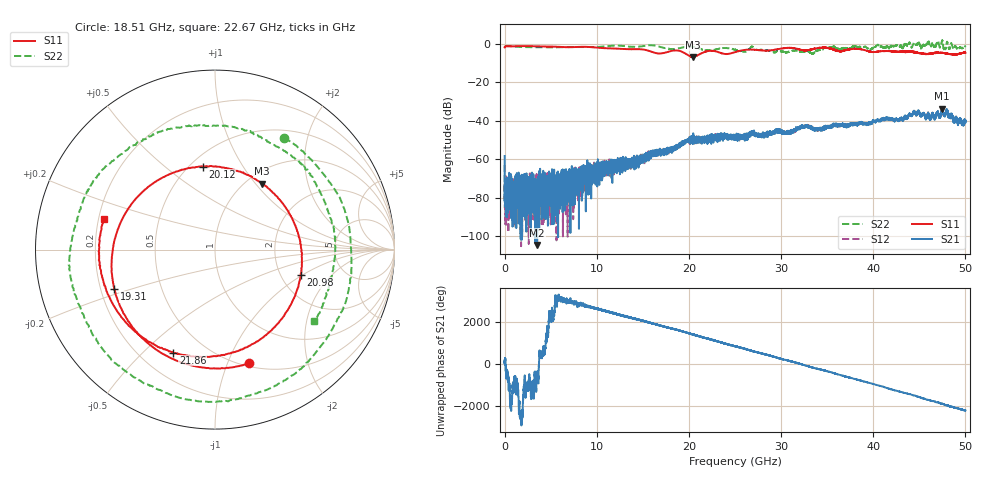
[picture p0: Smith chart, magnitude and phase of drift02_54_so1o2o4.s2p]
!Created with skrf (http://scikit-rf.org).
# Hz S RI R 50.0
!freq ReS11 ImS11 ReS21 ImS21 ReS12 ImS12 ReS22 ImS22
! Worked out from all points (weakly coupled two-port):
!   10001 points, 300 kHz to 50 GHz, reference 50 ohm
!   highest |S21| = -33.86 dB at 47.46 GHz (marker M1); lowest = -104.5 dB at 3.53 GHz (marker M2)
!   lowest |S11| = -6.9 dB at 20.44 GHz (marker M3), VSWR 2.64, Z = 58.4 + j53.9 ohm
!   |S11| at or under -10 dB: nowhere
!   |S22| runs from -5.3 to 1.6 dB; largest |S21 - S12| = 0.0028
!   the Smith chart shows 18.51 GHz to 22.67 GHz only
!   S11 on the Smith chart (normalised r, x): 18.51 GHz: 0.53, -1.20; 19.31 GHz: 0.26, -0.18; 20.12 GHz: 0.58, +0.68; 20.98 GHz: 2.57, -0.96; 21.86 GHz: 0.33, -0.62; 22.67 GHz: 0.22, +0.13
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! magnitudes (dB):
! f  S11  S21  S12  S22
! 300 kHz  -2.0  -58.4  -63.0  -1.3
! 260.3 MHz  -1.4  -90.2  -85.4  -1.4
! 3.53 GHz  -1.5  -104.5  -82.0  -1.9
! 8.335 GHz  -1.7  -67.6  -64.2  -1.9
! 16.67 GHz  -5.2  -55.7  -57.0  -1.4
! 18.51 GHz  -3.6  -53.9  -54.4  -2.7
! 19.31 GHz  -4.4  -52.6  -52.0  -2.1
! 20.12 GHz  -6.6  -50.3  -51.3  -1.5
! 20.44 GHz  -6.9  -51.4  -49.3  -1.7
! 20.98 GHz  -6.1  -51.0  -49.8  -2.3
! 21.86 GHz  -4.2  -50.9  -50.1  -3.5
! 22.67 GHz  -3.9  -48.4  -49.1  -3.3
! 25 GHz  -4.5  -48.0  -48.7  -3.2
! 26.11 GHz  -3.3  -47.6  -48.2  -4.3
! 26.91 GHz  -3.2  -46.3  -46.3  -1.6
! 33.34 GHz  -3.0  -43.9  -43.6  -5.2
! 34.9 GHz  -2.3  -43.5  -43.7  -2.1
! 41.67 GHz  -3.9  -39.1  -39.0  -2.1
! 44.62 GHz  -4.5  -36.6  -36.6  -0.6
! 46.01 GHz  -5.4  -36.9  -36.4  1.2
! 47.46 GHz  -4.9  -33.9  -34.4  1.3
! 50 GHz  -4.8  -40.0  -41.2  -1.4
